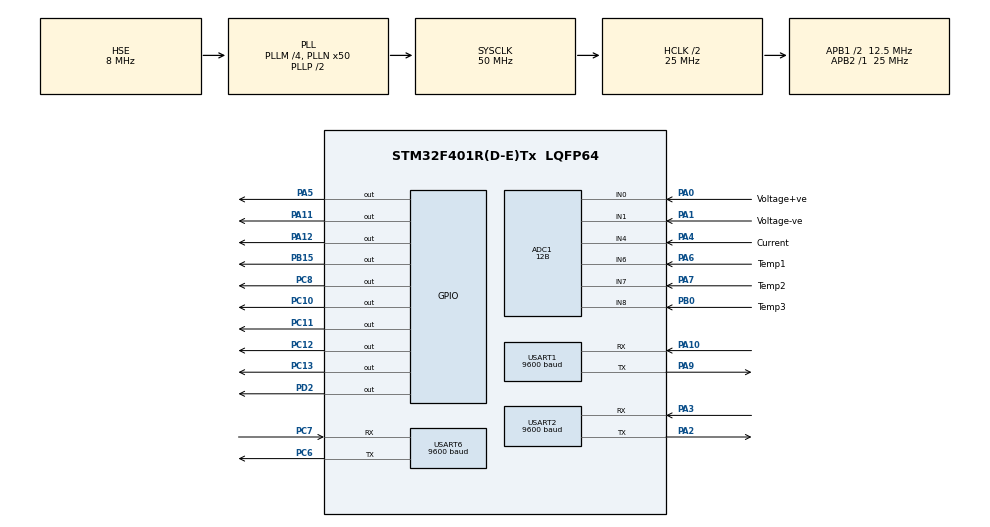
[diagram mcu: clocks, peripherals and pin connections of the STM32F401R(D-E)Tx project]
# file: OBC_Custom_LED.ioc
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ADC1.Channel-0\#ChannelRegularConversion=ADC_CHANNEL_0
ADC1.Channel-3\#ChannelRegularConversion=ADC_CHANNEL_1
ADC1.Channel-4\#ChannelRegularConversion=ADC_CHANNEL_4
ADC1.Channel-5\#ChannelRegularConversion=ADC_CHANNEL_6
ADC1.Channel-6\#ChannelRegularConversion=ADC_CHANNEL_7
ADC1.Channel-7\#ChannelRegularConversion=ADC_CHANNEL_8
ADC1.InjNumberOfConversion=0
ADC1.NbrOfConversion=6
ADC1.NbrOfConversionFlag=1
ADC1.Rank-0\#ChannelRegularConversion=1
ADC1.Rank-3\#ChannelRegularConversion=2
ADC1.Rank-4\#ChannelRegularConversion=3
ADC1.Rank-5\#ChannelRegularConversion=4
ADC1.Rank-6\#ChannelRegularConversion=5
ADC1.Rank-7\#ChannelRegularConversion=6
ADC1.Resolution=ADC_RESOLUTION_12B
ADC1.SamplingTime-0\#ChannelRegularConversion=ADC_SAMPLETIME_480CYCLES
ADC1.SamplingTime-3\#ChannelRegularConversion=ADC_SAMPLETIME_480CYCLES
ADC1.SamplingTime-4\#ChannelRegularConversion=ADC_SAMPLETIME_480CYCLES
ADC1.SamplingTime-5\#ChannelRegularConversion=ADC_SAMPLETIME_480CYCLES
ADC1.SamplingTime-6\#ChannelRegularConversion=ADC_SAMPLETIME_480CYCLES
ADC1.SamplingTime-7\#ChannelRegularConversion=ADC_SAMPLETIME_480CYCLES
ADC1.ScanConvMode=ENABLE
ADC1.master=1
Dma.ADC1.1.Direction=DMA_PERIPH_TO_MEMORY
Dma.ADC1.1.FIFOMode=DMA_FIFOMODE_DISABLE
Dma.ADC1.1.Instance=DMA2_Stream0
Dma.ADC1.1.MemDataAlignment=DMA_MDATAALIGN_HALFWORD
Dma.ADC1.1.MemInc=DMA_MINC_ENABLE
Dma.ADC1.1.Mode=DMA_CIRCULAR
Dma.ADC1.1.PeriphDataAlignment=DMA_PDATAALIGN_HALFWORD
Dma.ADC1.1.PeriphInc=DMA_PINC_DISABLE
Dma.ADC1.1.Priority=DMA_PRIORITY_MEDIUM
Dma.Request0=USART6_TX
Dma.Request1=ADC1
Dma.USART6_TX.0.Direction=DMA_MEMORY_TO_PERIPH
Dma.USART6_TX.0.FIFOMode=DMA_FIFOMODE_DISABLE
Dma.USART6_TX.0.Instance=DMA2_Stream6
Dma.USART6_TX.0.MemDataAlignment=DMA_MDATAALIGN_BYTE
Dma.USART6_TX.0.MemInc=DMA_MINC_ENABLE
Dma.USART6_TX.0.Mode=DMA_NORMAL
Dma.USART6_TX.0.PeriphDataAlignment=DMA_PDATAALIGN_BYTE
Dma.USART6_TX.0.PeriphInc=DMA_PINC_DISABLE
Dma.USART6_TX.0.Priority=DMA_PRIORITY_LOW
FREERTOS.Mutexes01=myMutex01,Dynamic,NULL,Available
FREERTOS.Queues01=timer_flag,16,uint16_t,0,Dynamic,NULL,NULL;command,16,uint16_t,0,Dynamic,NULL,NULL;FPGA_Command,16,uint16_t,0,Dynamic,NULL,NULL
FREERTOS.Tasks01=Telementrytask,40,128,StartTelementrytask,Default,NULL,Dynamic,NULL,NULL;housekeeping,8,128,Starthousekeeping,Default,NULL,Dynamic,NULL,NULL;Command_Execute,24,128,StartCommand_Execute,Default,NULL,Dynamic,NULL,NULL
Mcu.Family=STM32F4
Mcu.Name=STM32F401R(D-E)Tx
Mcu.Package=LQFP64
NVIC.ADC_IRQn=true\:5\:0\:false\:false\:true\:true\:true\:true\:true
NVIC.DMA2_Stream0_IRQn=true\:5\:0\:false\:false\:true\:true\:false\:true\:true
NVIC.DMA2_Stream6_IRQn=true\:5\:0\:false\:false\:true\:true\:false\:true\:true
NVIC.PriorityGroup=NVIC_PRIORITYGROUP_4
NVIC.TIM2_IRQn=true\:5\:0\:false\:false\:true\:true\:true\:true\:true
NVIC.USART1_IRQn=true\:5\:0\:false\:false\:true\:true\:true\:true\:true
NVIC.USART6_IRQn=true\:5\:0\:true\:false\:true\:true\:true\:true\:true
PA0-WKUP.GPIO_Label=Voltage+ve
PA0-WKUP.Signal=ADCx_IN0
PA1.GPIO_Label=Voltage-ve
PA1.Signal=ADCx_IN1
PA10.Mode=Asynchronous
PA10.Signal=USART1_RX
PA11.Signal=GPIO_Output
PA12.Signal=GPIO_Output
PA13.Mode=Serial_Wire
PA13.Signal=SYS_JTMS-SWDIO
PA14.Mode=Serial_Wire
PA14.Signal=SYS_JTCK-SWCLK
PA2.Mode=Asynchronous
PA2.Signal=USART2_TX
PA3.Mode=Asynchronous
PA3.Signal=USART2_RX
PA4.GPIO_Label=Current
PA4.Signal=ADCx_IN4
PA5.Signal=GPIO_Output
PA6.GPIO_Label=Temp1
PA6.Signal=ADCx_IN6
PA7.GPIO_Label=Temp2
PA7.Signal=ADCx_IN7
PA9.Mode=Asynchronous
PA9.Signal=USART1_TX
PB0.GPIO_Label=Temp3
PB0.Signal=ADCx_IN8
PB15.Signal=GPIO_Output
PC10.Signal=GPIO_Output
PC11.Signal=GPIO_Output
PC12.Signal=GPIO_Output
PC13-ANTI_TAMP.Signal=GPIO_Output
PC6.Mode=Asynchronous
PC6.Signal=USART6_TX
PC7.Mode=Asynchronous
PC7.Signal=USART6_RX
PC8.Signal=GPIO_Output
PD2.Signal=GPIO_Output
PH0\ -\ OSC_IN.Mode=HSE-External-Oscillator
PH0\ -\ OSC_IN.Signal=RCC_OSC_IN
PH1\ -\ OSC_OUT.Mode=HSE-External-Oscillator
PH1\ -\ OSC_OUT.Signal=RCC_OSC_OUT
ProjectManager.HeapSize=0x200
ProjectManager.StackSize=0x400
ProjectManager.TargetToolchain=STM32CubeIDE
RCC.48MHZClocksFreq_Value=25000000
RCC.AHBCLKDivider=RCC_SYSCLK_DIV2
RCC.AHBFreq_Value=25000000
RCC.APB1CLKDivider=RCC_HCLK_DIV2
RCC.APB1Freq_Value=12500000
RCC.APB1TimFreq_Value=25000000
RCC.APB2Freq_Value=25000000
RCC.APB2TimFreq_Value=25000000
RCC.CortexFreq_Value=25000000
RCC.HCLKFreq_Value=25000000
RCC.HSE_VALUE=8000000
RCC.HSI_VALUE=16000000
RCC.LSE_VALUE=32768
RCC.PLLM=4
RCC.PLLN=50
RCC.PLLSourceVirtual=RCC_PLLSOURCE_HSE
RCC.SYSCLKFreq_VALUE=50000000
RCC.SYSCLKSource=RCC_SYSCLKSOURCE_PLLCLK
RCC.VCOOutputFreq_Value=100000000
SH.ADCx_IN0.0=ADC1_IN0,IN0
SH.ADCx_IN1.0=ADC1_IN1,IN1
SH.ADCx_IN4.0=ADC1_IN4,IN4
SH.ADCx_IN6.0=ADC1_IN6,IN6
SH.ADCx_IN7.0=ADC1_IN7,IN7
SH.ADCx_IN8.0=ADC1_IN8,IN8
TIM2.Period=17856
TIM2.Prescaler=8399
USART1.BaudRate=9600
USART1.VirtualMode=VM_ASYNC
USART2.BaudRate=9600
USART2.VirtualMode=VM_ASYNC
USART6.BaudRate=9600
USART6.VirtualMode=VM_ASYNC
VP_CRC_VS_CRC.Mode=CRC_Activate
VP_FREERTOS_VS_CMSIS_V2.Mode=CMSIS_V2
VP_TIM2_VS_ClockSourceINT.Mode=Internal
board=custom

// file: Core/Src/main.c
/* USER CODE BEGIN Header */
#include <stdbool.h>
#include<stdio.h>
/* USER CODE END  Header */
#include "main.h"
#include "cmsis_os.h"
/*hemant maruti  patil*/
/*last updated 18 april */
/* USER CODE BEGIN Includes */
typedef enum
{
   CMD_RESET_OBC  = 0x11,
   CMD_NO_COMMAND = 0X0E,
   CMD_TIME_STAMP_SYSTEM = 0x0D,
   CMD_FPGA_ON      =0x01,
   CMD_FRONTEND_ON   =0x02,
   CMD_ANTENNA_DEPLOY_ON   = 0x03,
   CMD_ANTENNA_DEPLOY_OFF = 0x04,
   CMD_TIME_STAMP_FPGA = 0x05,
   CMD_FPGA_OFF = 0x06,
   CMD_FRONTEND_OFF  = 0x07,
   CMD_START_HOUSEKEEPING = 0x08,
   CMD_DOWNLOAD_HOUSEKEEPING_DATA  = 0x09,
   CMD_DOWNLOAD_FPGA_DATA  = 0x0A,
   CMD_RESET_HOUSEKEEPING_MEMORY  = 0x0B,
	CMD_RESET_FPGADATA_MEMORY = 0x0C,
} command_t;

/* USER CODE END Includes */

/* USER CODE BEGIN PTD */
typedef struct {
   uint32_t timestamp;  // 4 bytes
   uint16_t VoltPos;    // 2 bytes
   uint16_t VoltNeg;    // 2 bytes
   uint16_t Current;    // 2 bytes
   uint16_t Temp1;      // 2 bytes
   uint16_t Temp2;      // 2 bytes
   uint16_t Temp3;      // 2 bytes
   uint32_t crc;        // 4 bytes
} __attribute__((packed)) SensorLog_t;
typedef struct {
   uint8_t cmd;     // command
   uint8_t flag;   // flag for housekeeping data
} Message_t;

/* USER CODE END PTD */

/* USER CODE BEGIN PD */
#define STORAGE_START_ADDR_7  0x08060000  // Base address of Sector 7
#define STORAGE_SECTOR_SIZE   (128 * 1024) // 128 Kbytes
#define STORAGE_END_ADDR_7    (STORAGE_START_ADDR_7 + STORAGE_SECTOR_SIZE)
// Definition of GPIO PIN Functions
#define FPGA_ON()  HAL_GPIO_WritePin(GPIOC, GPIO_PIN_12, GPIO_PIN_SET)
#define FPGA_OFF() HAL_GPIO_WritePin(GPIOC, GPIO_PIN_12, GPIO_PIN_RESET)
#define FRONTEND_ON() HAL_GPIO_WritePin(GPIOC, GPIO_PIN_11, GPIO_PIN_SET)
#define FRONTEND_OFF() HAL_GPIO_WritePin(GPIOC, GPIO_PIN_11, GPIO_PIN_RESET)
#define ANTENNA_DEPLOY_ON() HAL_GPIO_WritePin(GPIOC, GPIO_PIN_10, GPIO_PIN_SET)
#define ANTENNA_DEPLOY_OFF() HAL_GPIO_WritePin(GPIOC, GPIO_PIN_10, GPIO_PIN_RESET)
/* USER CODE BEGIN PV */
uint32_t Get_Next_Empty_Address_7(void);
uint32_t AdressHousekeeping = 0x08060000;
uint32_t currentFlashAddress_7;
SensorLog_t HousekeepingLog;
uint8_t cmd_byte;        // For the 1-byte command
uint8_t FPGA_Byte;
uint8_t time_data[4];    // For the 4-byte timestamp
uint32_t PS4_time=0;       // Your final 32-bit time
bool waiting_for_time = false;
uint8_t txData[] = "Telemetry command recieved\r\n";

uint16_t adcBuffer[6];   // DMA fills this in scan order

/* USER CODE END PD */

ADC_HandleTypeDef hadc1;
DMA_HandleTypeDef hdma_adc1;

CRC_HandleTypeDef hcrc;

TIM_HandleTypeDef htim2;

UART_HandleTypeDef huart1;
UART_HandleTypeDef huart2;
UART_HandleTypeDef huart6;
DMA_HandleTypeDef hdma_usart6_tx;

/* Definitions for Telementrytask */
osThreadId_t TelementrytaskHandle;
const osThreadAttr_t Telementrytask_attributes = {
  .name = "Telementrytask",
  .stack_size = 128 * 4,
  .priority = (osPriority_t) osPriorityHigh,
};
/* Definitions for housekeeping */
osThreadId_t housekeepingHandle;
const osThreadAttr_t housekeeping_attributes = {
  .name = "housekeeping",
  .stack_size = 128 * 4,
  .priority = (osPriority_t) osPriorityLow,
};
/* Definitions for Command_Execute */
osThreadId_t Command_ExecuteHandle;
const osThreadAttr_t Command_Execute_attributes = {
  .name = "Command_Execute",
  .stack_size = 128 * 4,
  .priority = (osPriority_t) osPriorityNormal,
};
/* Definitions for timer_flag */
osMessageQueueId_t timer_flagHandle;
const osMessageQueueAttr_t timer_flag_attributes = {
  .name = "timer_flag"
};
/* Definitions for command */
osMessageQueueId_t commandHandle;
const osMessageQueueAttr_t command_attributes = {
  .name = "command"
};
/* Definitions for FPGA_Command */
osMessageQueueId_t FPGA_CommandHandle;
const osMessageQueueAttr_t FPGA_Command_attributes = {
  .name = "FPGA_Command"
};
/* Definitions for myMutex01 */
osMutexId_t myMutex01Handle;
const osMutexAttr_t myMutex01_attributes = {
  .name = "myMutex01"
};

void SystemClock_Config(void);
static void MX_GPIO_Init(void);
static void MX_DMA_Init(void);
static void MX_USART6_UART_Init(void);
static void MX_ADC1_Init(void);
static void MX_USART1_UART_Init(void);
static void MX_TIM2_Init(void);
static void MX_CRC_Init(void);
static void MX_USART2_UART_Init(void);
void StartTelementrytask(void *argument);
void Starthousekeeping(void *argument);
void StartCommand_Execute(void *argument);

int main(void)
{

  /* MCU Configuration--------------------------------------------------------*/

  /* Reset of all peripherals, Initializes the Flash interface and the Systick. */
  HAL_Init();

  /* Configure the system clock */
  SystemClock_Config();

  /* Initialize all configured peripherals */
  MX_GPIO_Init();
  MX_DMA_Init();
  MX_USART6_UART_Init();
  MX_ADC1_Init();
  MX_USART1_UART_Init();
  MX_TIM2_Init();
  MX_CRC_Init();
  MX_USART2_UART_Init();
  /* USER CODE BEGIN 2 */
  HAL_UART_Receive_IT(&huart6, &cmd_byte, 1);
  HAL_UART_Receive_IT(&huart1, &FPGA_Byte, 1);
   currentFlashAddress_7 = Get_Next_Empty_Address_7();

  /* USER CODE END 2 */

  /* Init scheduler */
  osKernelInitialize();
  /* Create the mutex(es) */
  /* creation of myMutex01 */
  myMutex01Handle = osMutexNew(&myMutex01_attributes);

  /* Create the queue(s) */
  /* creation of timer_flag */
  timer_flagHandle = osMessageQueueNew (16, sizeof(uint16_t), &timer_flag_attributes);

  /* creation of command */
  commandHandle = osMessageQueueNew (16, sizeof(uint16_t), &command_attributes);

  /* creation of FPGA_Command */
  FPGA_CommandHandle = osMessageQueueNew (16, sizeof(uint16_t), &FPGA_Command_attributes);

  /* Create the thread(s) */
  /* creation of Telementrytask */
  TelementrytaskHandle = osThreadNew(StartTelementrytask, NULL, &Telementrytask_attributes);

  /* creation of housekeeping */
  housekeepingHandle = osThreadNew(Starthousekeeping, NULL, &housekeeping_attributes);

  /* creation of Command_Execute */
  Command_ExecuteHandle = osThreadNew(StartCommand_Execute, NULL, &Command_Execute_attributes);

  /* Start scheduler */
  osKernelStart();

  /* We should never get here as control is now taken by the scheduler */

  /* Infinite loop */

}

void SystemClock_Config(void)
{
  RCC_OscInitTypeDef RCC_OscInitStruct = {0};
  RCC_ClkInitTypeDef RCC_ClkInitStruct = {0};

  /** Configure the main internal regulator output voltage
  */
  __HAL_RCC_PWR_CLK_ENABLE();
  __HAL_PWR_VOLTAGESCALING_CONFIG(PWR_REGULATOR_VOLTAGE_SCALE2);

  /** Initializes the RCC Oscillators according to the specified parameters
  * in the RCC_OscInitTypeDef structure.
  */
  RCC_OscInitStruct.OscillatorType = RCC_OSCILLATORTYPE_HSE;
  RCC_OscInitStruct.HSEState = RCC_HSE_ON;
  RCC_OscInitStruct.PLL.PLLState = RCC_PLL_ON;
  RCC_OscInitStruct.PLL.PLLSource = RCC_PLLSOURCE_HSE;
  RCC_OscInitStruct.PLL.PLLM = 4;
  RCC_OscInitStruct.PLL.PLLN = 50;
  RCC_OscInitStruct.PLL.PLLP = RCC_PLLP_DIV2;
  RCC_OscInitStruct.PLL.PLLQ = 4;
  if (HAL_RCC_OscConfig(&RCC_OscInitStruct) != HAL_OK)
  {
    Error_Handler();
  }

  /** Initializes the CPU, AHB and APB buses clocks
  */
  RCC_ClkInitStruct.ClockType = RCC_CLOCKTYPE_HCLK|RCC_CLOCKTYPE_SYSCLK
                              |RCC_CLOCKTYPE_PCLK1|RCC_CLOCKTYPE_PCLK2;
  RCC_ClkInitStruct.SYSCLKSource = RCC_SYSCLKSOURCE_PLLCLK;
  RCC_ClkInitStruct.AHBCLKDivider = RCC_SYSCLK_DIV2;
  RCC_ClkInitStruct.APB1CLKDivider = RCC_HCLK_DIV2;
  RCC_ClkInitStruct.APB2CLKDivider = RCC_HCLK_DIV1;

  if (HAL_RCC_ClockConfig(&RCC_ClkInitStruct, FLASH_LATENCY_0) != HAL_OK)
  {
    Error_Handler();
  }
}

static void MX_ADC1_Init(void)
{

  ADC_ChannelConfTypeDef sConfig = {0};

  /** Configure the global features of the ADC (Clock, Resolution, Data Alignment and number of conversion)
  */
  hadc1.Instance = ADC1;
  hadc1.Init.ClockPrescaler = ADC_CLOCK_SYNC_PCLK_DIV2;
  hadc1.Init.Resolution = ADC_RESOLUTION_12B;
  hadc1.Init.ScanConvMode = ENABLE;
  hadc1.Init.ContinuousConvMode = DISABLE;
  hadc1.Init.DiscontinuousConvMode = DISABLE;
  hadc1.Init.ExternalTrigConvEdge = ADC_EXTERNALTRIGCONVEDGE_NONE;
  hadc1.Init.ExternalTrigConv = ADC_SOFTWARE_START;
  hadc1.Init.DataAlign = ADC_DATAALIGN_RIGHT;
  hadc1.Init.NbrOfConversion = 6;
  hadc1.Init.DMAContinuousRequests = DISABLE;
  hadc1.Init.EOCSelection = ADC_EOC_SEQ_CONV;
  if (HAL_ADC_Init(&hadc1) != HAL_OK)
  {
    Error_Handler();
  }

  /** Configure for the selected ADC regular channel its corresponding rank in the sequencer and its sample time.
  */
  sConfig.Channel = ADC_CHANNEL_0;
  sConfig.Rank = 1;
  sConfig.SamplingTime = ADC_SAMPLETIME_480CYCLES;
  if (HAL_ADC_ConfigChannel(&hadc1, &sConfig) != HAL_OK)
  {
    Error_Handler();
  }

  /** Configure for the selected ADC regular channel its corresponding rank in the sequencer and its sample time.
  */
  sConfig.Channel = ADC_CHANNEL_1;
  sConfig.Rank = 2;
  if (HAL_ADC_ConfigChannel(&hadc1, &sConfig) != HAL_OK)
  {
    Error_Handler();
  }

  /** Configure for the selected ADC regular channel its corresponding rank in the sequencer and its sample time.
  */
  sConfig.Channel = ADC_CHANNEL_4;
  sConfig.Rank = 3;
  if (HAL_ADC_ConfigChannel(&hadc1, &sConfig) != HAL_OK)
  {
    Error_Handler();
  }

  /** Configure for the selected ADC regular channel its corresponding rank in the sequencer and its sample time.
  */
  sConfig.Channel = ADC_CHANNEL_6;
  sConfig.Rank = 4;
  if (HAL_ADC_ConfigChannel(&hadc1, &sConfig) != HAL_OK)
  {
    Error_Handler();
  }

  /** Configure for the selected ADC regular channel its corresponding rank in the sequencer and its sample time.
  */
  sConfig.Channel = ADC_CHANNEL_7;
  sConfig.Rank = 5;
  if (HAL_ADC_ConfigChannel(&hadc1, &sConfig) != HAL_OK)
  {
    Error_Handler();
  }

  /** Configure for the selected ADC regular channel its corresponding rank in the sequencer and its sample time.
  */
  sConfig.Channel = ADC_CHANNEL_8;
  sConfig.Rank = 6;
  if (HAL_ADC_ConfigChannel(&hadc1, &sConfig) != HAL_OK)
  {
    Error_Handler();
  }

}

static void MX_CRC_Init(void)
{

  hcrc.Instance = CRC;
  if (HAL_CRC_Init(&hcrc) != HAL_OK)
  {
    Error_Handler();
  }

}

static void MX_TIM2_Init(void)
{

  TIM_ClockConfigTypeDef sClockSourceConfig = {0};
  TIM_MasterConfigTypeDef sMasterConfig = {0};

  htim2.Instance = TIM2;
  htim2.Init.Prescaler = 8399;
  htim2.Init.CounterMode = TIM_COUNTERMODE_UP;
  htim2.Init.Period = 17856;
  htim2.Init.ClockDivision = TIM_CLOCKDIVISION_DIV1;
  htim2.Init.AutoReloadPreload = TIM_AUTORELOAD_PRELOAD_DISABLE;
  if (HAL_TIM_Base_Init(&htim2) != HAL_OK)
  {
    Error_Handler();
  }
  sClockSourceConfig.ClockSource = TIM_CLOCKSOURCE_INTERNAL;
  if (HAL_TIM_ConfigClockSource(&htim2, &sClockSourceConfig) != HAL_OK)
  {
    Error_Handler();
  }
  sMasterConfig.MasterOutputTrigger = TIM_TRGO_RESET;
  sMasterConfig.MasterSlaveMode = TIM_MASTERSLAVEMODE_DISABLE;
  if (HAL_TIMEx_MasterConfigSynchronization(&htim2, &sMasterConfig) != HAL_OK)
  {
    Error_Handler();
  }

}

static void MX_USART1_UART_Init(void)
{

  huart1.Instance = USART1;
  huart1.Init.BaudRate = 9600;
  huart1.Init.WordLength = UART_WORDLENGTH_8B;
  huart1.Init.StopBits = UART_STOPBITS_1;
  huart1.Init.Parity = UART_PARITY_NONE;
  huart1.Init.Mode = UART_MODE_TX_RX;
  huart1.Init.HwFlowCtl = UART_HWCONTROL_NONE;
  huart1.Init.OverSampling = UART_OVERSAMPLING_16;
  if (HAL_UART_Init(&huart1) != HAL_OK)
  {
    Error_Handler();
  }

}

static void MX_USART2_UART_Init(void)
{

  huart2.Instance = USART2;
  huart2.Init.BaudRate = 9600;
  huart2.Init.WordLength = UART_WORDLENGTH_8B;
  huart2.Init.StopBits = UART_STOPBITS_1;
  huart2.Init.Parity = UART_PARITY_NONE;
  huart2.Init.Mode = UART_MODE_TX_RX;
  huart2.Init.HwFlowCtl = UART_HWCONTROL_NONE;
  huart2.Init.OverSampling = UART_OVERSAMPLING_16;
  if (HAL_UART_Init(&huart2) != HAL_OK)
  {
    Error_Handler();
  }

}

static void MX_USART6_UART_Init(void)
{

  huart6.Instance = USART6;
  huart6.Init.BaudRate = 9600;
  huart6.Init.WordLength = UART_WORDLENGTH_8B;
  huart6.Init.StopBits = UART_STOPBITS_1;
  huart6.Init.Parity = UART_PARITY_NONE;
  huart6.Init.Mode = UART_MODE_TX_RX;
  huart6.Init.HwFlowCtl = UART_HWCONTROL_NONE;
  huart6.Init.OverSampling = UART_OVERSAMPLING_16;
  if (HAL_UART_Init(&huart6) != HAL_OK)
  {
    Error_Handler();
  }

}

static void MX_DMA_Init(void)
{

  /* DMA controller clock enable */
  __HAL_RCC_DMA2_CLK_ENABLE();

  /* DMA interrupt init */
  /* DMA2_Stream0_IRQn interrupt configuration */
  HAL_NVIC_SetPriority(DMA2_Stream0_IRQn, 5, 0);
  HAL_NVIC_EnableIRQ(DMA2_Stream0_IRQn);
  /* DMA2_Stream6_IRQn interrupt configuration */
  HAL_NVIC_SetPriority(DMA2_Stream6_IRQn, 5, 0);
  HAL_NVIC_EnableIRQ(DMA2_Stream6_IRQn);

}

static void MX_GPIO_Init(void)
{
  GPIO_InitTypeDef GPIO_InitStruct = {0};

  /* GPIO Ports Clock Enable */
  __HAL_RCC_GPIOC_CLK_ENABLE();
  __HAL_RCC_GPIOH_CLK_ENABLE();
  __HAL_RCC_GPIOA_CLK_ENABLE();
  __HAL_RCC_GPIOB_CLK_ENABLE();
  __HAL_RCC_GPIOD_CLK_ENABLE();

  /*Configure GPIO pin Output Level */
  HAL_GPIO_WritePin(GPIOC, GPIO_PIN_13|GPIO_PIN_8|GPIO_PIN_10|GPIO_PIN_11
                          |GPIO_PIN_12, GPIO_PIN_RESET);

  /*Configure GPIO pin Output Level */
  HAL_GPIO_WritePin(GPIOA, GPIO_PIN_5|GPIO_PIN_11|GPIO_PIN_12, GPIO_PIN_RESET);

  /*Configure GPIO pin Output Level */
  HAL_GPIO_WritePin(GPIOB, GPIO_PIN_15, GPIO_PIN_RESET);

  /*Configure GPIO pin Output Level */
  HAL_GPIO_WritePin(GPIOD, GPIO_PIN_2, GPIO_PIN_RESET);

  /*Configure GPIO pins : PC13 PC8 PC10 PC11
                           PC12 */
  GPIO_InitStruct.Pin = GPIO_PIN_13|GPIO_PIN_8|GPIO_PIN_10|GPIO_PIN_11
                          |GPIO_PIN_12;
  GPIO_InitStruct.Mode = GPIO_MODE_OUTPUT_PP;
  GPIO_InitStruct.Pull = GPIO_NOPULL;
  GPIO_InitStruct.Speed = GPIO_SPEED_FREQ_LOW;
  HAL_GPIO_Init(GPIOC, &GPIO_InitStruct);

  /*Configure GPIO pins : PA5 PA11 PA12 */
  GPIO_InitStruct.Pin = GPIO_PIN_5|GPIO_PIN_11|GPIO_PIN_12;
  GPIO_InitStruct.Mode = GPIO_MODE_OUTPUT_PP;
  GPIO_InitStruct.Pull = GPIO_NOPULL;
  GPIO_InitStruct.Speed = GPIO_SPEED_FREQ_LOW;
  HAL_GPIO_Init(GPIOA, &GPIO_InitStruct);

  /*Configure GPIO pin : PB15 */
  GPIO_InitStruct.Pin = GPIO_PIN_15;
  GPIO_InitStruct.Mode = GPIO_MODE_OUTPUT_PP;
  GPIO_InitStruct.Pull = GPIO_NOPULL;
  GPIO_InitStruct.Speed = GPIO_SPEED_FREQ_LOW;
  HAL_GPIO_Init(GPIOB, &GPIO_InitStruct);

  /*Configure GPIO pin : PD2 */
  GPIO_InitStruct.Pin = GPIO_PIN_2;
  GPIO_InitStruct.Mode = GPIO_MODE_OUTPUT_PP;
  GPIO_InitStruct.Pull = GPIO_NOPULL;
  GPIO_InitStruct.Speed = GPIO_SPEED_FREQ_LOW;
  HAL_GPIO_Init(GPIOD, &GPIO_InitStruct);

}

/* USER CODE BEGIN 4 */
void HAL_UART_RxCpltCallback(UART_HandleTypeDef *huart) {
   if (huart->Instance == USART6) {

       if (!waiting_for_time) {
           // --- WE JUST RECEIVED THE 1-BYTE COMMAND ---
           if (cmd_byte == 0x0D) {
               // It's the time command!
               waiting_for_time = true;
               // RECONFIGURE: Tell UART to wait for exactly 4 bytes now
               HAL_UART_Receive_IT(&huart6, time_data, 4);
           }

           else {
               // It's a normal command, send to RTOS
           	Message_t Rcommand = {0};
				Rcommand.cmd = cmd_byte;
               osMessageQueuePut(commandHandle, &Rcommand, 0, 0);
               // Stay in 1-byte mode
               HAL_UART_Receive_IT(&huart6, &cmd_byte, 1);
           }
       }
       else {
           // --- WE JUST RECEIVED THE 4-BYTE TIMESTAMP ---
           // Combine the 4 bytes into your 32-bit variable
           PS4_time = (uint32_t)time_data[0] << 24 |
                      (uint32_t)time_data[1] << 16 |
                      (uint32_t)time_data[2] << 8  |
                      (uint32_t)time_data[3];
           waiting_for_time = false;
           // RECONFIGURE: Switch back to 1-byte mode for the next command
           HAL_UART_Receive_IT(&huart6, &cmd_byte, 1);
	         HAL_UART_Transmit(&huart6, (uint8_t*)"TimeStampcomplete\n", 16, HAL_MAX_DELAY);

       }
   }
}

void HAL_UART_R9xCpltCallback(UART_HandleTypeDef *huart) {
   if (huart->Instance == USART1) {
	   HAL_UART_Transmit_DMA(&huart6, FPGA_Byte, 1);

   }
}
void HAL_TIM_PeriodElapsedCallback(TIM_HandleTypeDef *htim) {
   if (htim->Instance == TIM2) {
       Message_t timer_trig = {0} ;
       timer_trig.flag =1;
       osMessageQueuePut(timer_flagHandle, &timer_trig, 0, 0);
   }
}

uint32_t Get_Next_Empty_Address_7(void) {
   uint32_t address = STORAGE_START_ADDR_7;
   // Scan word-by-word (incrementing by 4 bytes)
   while (address < STORAGE_END_ADDR_7) {
       // Read the 32-bit word at the current address
       if (*(__IO uint32_t*)address == 0xFFFFFFFF) {
           return address; // Found empty space!
       }
       address += 4;
   }
   return 0; // Sector is completely full
}

void Antenna_Deploy(void){
	FPGA_OFF();
	FRONTEND_OFF();
	ANTENNA_DEPLOY_ON();
	osDelay(120000);
	ANTENNA_DEPLOY_OFF();
   }

void Save_Housekeeping_Log(SensorLog_t *log) {
   // 1. Cast the struct to a 32-bit pointer so we can read it word-by-word
   uint32_t *dataPtr = (uint32_t *)log;
   osMutexAcquire(myMutex01Handle, osWaitForever);
   HAL_FLASH_Unlock();
   for (int i = 0; i < 5; i++) {
       // Calculate the target address for this specific word
       uint32_t targetAddr = currentFlashAddress_7 + (i * 4);
       // Program one word at a time
       if (HAL_FLASH_Program(FLASH_TYPEPROGRAM_WORD, targetAddr, dataPtr[i]) != HAL_OK) {
           // Handle error (e.g., flash write failed)
           break;
       }
   }
   currentFlashAddress_7 += sizeof(SensorLog_t);

   HAL_FLASH_Lock();
   osMutexRelease(myMutex01Handle);
}
void Transmitt_Stored_HK(void){
	   osMutexAcquire(myMutex01Handle, osWaitForever);

	 uint32_t startAddr = STORAGE_START_ADDR_7;
	    uint32_t endAddr   = currentFlashAddress_7;

	    // Safety check: nothing to send
	    if (endAddr <= startAddr)
	        return;

	    uint32_t length = endAddr - startAddr;

	    // Transmit flash contents using DMA
	    HAL_UART_Transmit_DMA(&huart6, (uint8_t*)startAddr, length);
	    osMutexRelease(myMutex01Handle);

  }

void HAL_ADC_ConvCpltCallback(ADC_HandleTypeDef* hadc)
{
    if (hadc->Instance == ADC1)
    {

        HousekeepingLog.VoltPos = adcBuffer[0];
        HousekeepingLog.VoltNeg = adcBuffer[1];
        HousekeepingLog.Current = adcBuffer[2];
        HousekeepingLog.Temp1   = adcBuffer[3];
        HousekeepingLog.Temp2   = adcBuffer[4];
        HousekeepingLog.Temp3   = adcBuffer[5];

        HAL_ADC_Stop_DMA(&hadc1);   // since we're NOT using circular mode

    }
}

void EraseFlash_6(void)
{
	   osMutexAcquire(myMutex01Handle, osWaitForever);
  FLASH_EraseInitTypeDef FlashEraseDefination;  // Flash erase configuration
  uint32_t FlashEraseFault = 0;
  HAL_FLASH_Unlock();  // Unlock the Flash for write/erase operations
  FlashEraseDefination.TypeErase     = FLASH_TYPEERASE_SECTORS;
  FlashEraseDefination.Banks         = FLASH_BANK_1;
  FlashEraseDefination.NbSectors     = 1;
  FlashEraseDefination.Sector        = FLASH_SECTOR_6;  // Change to your target sector
  FlashEraseDefination.VoltageRange  = FLASH_VOLTAGE_RANGE_3;  // 2.7V to 3.6V (usually 3.3V)
  HAL_FLASHEx_Erase(&FlashEraseDefination, &FlashEraseFault);
  HAL_FLASH_Lock();  // Lock the Flash again
  osMutexRelease(myMutex01Handle);

}
void EraseFlash_7(void)
{
	   osMutexAcquire(myMutex01Handle, osWaitForever);
  FLASH_EraseInitTypeDef FlashEraseDefination;  // Flash erase configuration
  uint32_t FlashEraseFault = 0;
  HAL_FLASH_Unlock();  // Unlock the Flash for write/erase operations
  FlashEraseDefination.TypeErase     = FLASH_TYPEERASE_SECTORS;
  FlashEraseDefination.Banks         = FLASH_BANK_1;
  FlashEraseDefination.NbSectors     = 1;
  FlashEraseDefination.Sector        = FLASH_SECTOR_7;  // Change to your target sector
  FlashEraseDefination.VoltageRange  = FLASH_VOLTAGE_RANGE_3;  // 2.7V to 3.6V (usually 3.3V)
  HAL_FLASHEx_Erase(&FlashEraseDefination, &FlashEraseFault);
  HAL_FLASH_Lock();  // Lock the Flash again
  osMutexRelease(myMutex01Handle);

}

/* USER CODE END 4 */

void StartTelementrytask(void *argument)
{
  /* USER CODE BEGIN 5 */
	 for(;;)
		 {
		 osDelay(30);
		 }
  /* USER CODE END 5 */
}

void Starthousekeeping(void *argument)
{
  /* USER CODE BEGIN Starthousekeeping */

	Message_t received_cmd;
			    osStatus_t status;
	 for(;;)
	 {   HAL_GPIO_WritePin(GPIOA, GPIO_PIN_5, GPIO_PIN_SET);

		 status = osMessageQueueGet(timer_flagHandle, &received_cmd, NULL, osWaitForever);

	      if (status==osOK){

	    	  if (received_cmd.flag == 1) {
	    	      // Corrected length to 7 to include \n\r

	    		  HousekeepingLog.timestamp = PS4_time + (HAL_GetTick() / 1000);

	    		  /* Start ADC once */

	    		  HAL_ADC_Start_DMA(&hadc1, (uint32_t*)adcBuffer, 6);
	    		  osDelay(10);
	    		  char msg[128];
	    		         int len = snprintf(msg, sizeof(msg),
	    		                            "VP:%u VN:%u I:%u T1:%u T2:%u T3:%u\r\n",
	    		                            HousekeepingLog.VoltPos,
	    		                            HousekeepingLog.VoltNeg,
	    		                            HousekeepingLog.Current,
	    		                            HousekeepingLog.Temp1,
	    		                            HousekeepingLog.Temp2,
	    		                            HousekeepingLog.Temp3);

	    		     HAL_UART_Transmit(&huart6, (uint8_t*)msg, len, HAL_MAX_DELAY);

	    		  /* CRC */
	    		  HousekeepingLog.crc =
	    		      HAL_CRC_Calculate(&hcrc,
	    		                        (uint32_t*)&HousekeepingLog,
	    		                        sizeof(HousekeepingLog) / 4);

	    		  Save_Housekeeping_Log(&HousekeepingLog);

	    		  /* Clear command flag */
	    		  received_cmd.flag = 0;

	    	  }
	 }
	 }
  /* USER CODE END Starthousekeeping */
}

void StartCommand_Execute(void *argument)
{
  /* USER CODE BEGIN StartCommand_Execute */
	Message_t received_cmd;
		    osStatus_t status;
		    for(;;) {

		        status = osMessageQueueGet(commandHandle, &received_cmd, NULL, osWaitForever);
		        if (status == osOK) {
		      		 HAL_UART_Transmit(&huart6, txData, sizeof(txData)-1, HAL_MAX_DELAY);

		            switch (received_cmd.cmd) {

		                case CMD_RESET_OBC:
		                	NVIC_SystemReset();
		                    break;
		                case CMD_FPGA_ON:
		                    FPGA_ON();
		                    break;
		                case CMD_FRONTEND_ON:
		          		  HAL_UART_Transmit(&huart6, (uint8_t*)"FON\n\r", 6, 10);
		                    FRONTEND_ON();
		          		  HAL_UART_Transmit(&huart6, (uint8_t*)"FONC\n\r", 6, 10);

		                    break;
		                case CMD_ANTENNA_DEPLOY_ON:
		                	Antenna_Deploy();
		                    break;
		                case CMD_ANTENNA_DEPLOY_OFF:
		                   ANTENNA_DEPLOY_OFF();
		                    break;
		                case CMD_TIME_STAMP_SYSTEM:
		                	break;
		                case CMD_TIME_STAMP_FPGA:
		                    break;
		                case CMD_FPGA_OFF:
		                    FPGA_OFF();
		                    break;
		                case CMD_FRONTEND_OFF:
		                    FRONTEND_OFF();
		                    break;
		                case CMD_START_HOUSEKEEPING:
		                    HAL_TIM_Base_Start_IT(&htim2);

		                    break;
		                case CMD_DOWNLOAD_HOUSEKEEPING_DATA:
		                	Transmitt_Stored_HK();
		                    break;
		                case CMD_DOWNLOAD_FPGA_DATA:

		                    break;
		                case CMD_RESET_HOUSEKEEPING_MEMORY:
		                	EraseFlash_7();
		                    break;
		                case CMD_RESET_FPGADATA_MEMORY:
		                	EraseFlash_6();
		                    break;
		                case CMD_NO_COMMAND:
		                    /* Explicitly ignore or log No Command */
		                    break;
		                default:
		                    /* If UART receives a byte that isn't in your enum (e.g., 0xFF),
		                       this prevents the system from doing something dangerous.
		                    */
		                    // Log_Error("Invalid Command Received");
		                    break;
		            }
		        }
		    }

  /* USER CODE END StartCommand_Execute */
}

void Error_Handler(void)
{
}
